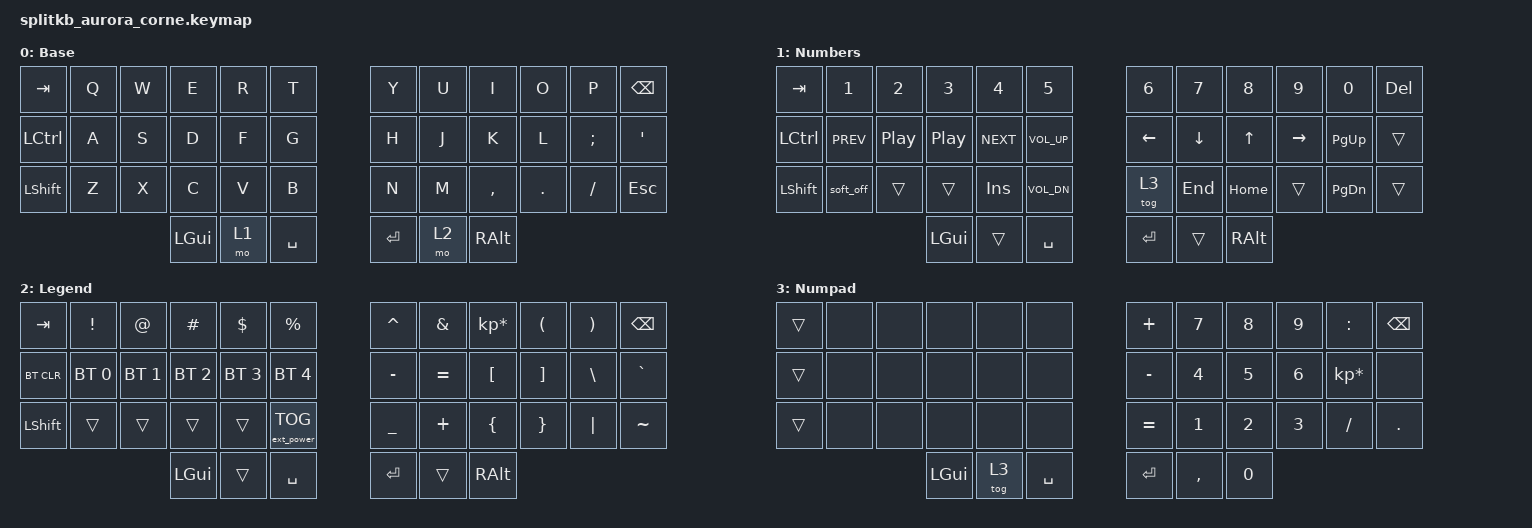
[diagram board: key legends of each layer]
//#include <../boards/shields/splitkb_aurora_corne/boards/nice_nano_v2.overlay>
//#include <dt-bindings/zmk/rgb.h>
/*
 * Copyright (c) 2020 The ZMK Contributors
 *
 * SPDX-License-Identifier: MIT
 */

#include <behaviors.dtsi>
#include <dt-bindings/zmk/keys.h>
#include <dt-bindings/zmk/bt.h>
#include <dt-bindings/zmk/ext_power.h>

&nice_view_spi {
    cs-gpios = <&pro_micro 0 GPIO_ACTIVE_HIGH>;
};

&soft_off {
    hold-time-ms = <1500>; // Only turn off it the key is held for 5 seconds or longer.
};

/{keymap{
    compatible = "zmk,keymap";
        default_layer{display-name = "Base";
        // -----------------------------------------------------------------------------------------
        //     |  TAB |  Q  |  W  |  E  |  R  |  T  |            |  Y  |  U   |  I      |  O   |  P      | BKSP |
        //     | CTRL |  A  |  S  |  D  |  F  |  G  |            |  H  |  J   |  K      |  L   |  ;      |  '   |
        //     | SHFT |  Z  |  X  |  C  |  V  |  B  |            |  N  |  M   |  ,      |  .   |  /      | ESC  |
        //                        | GUI | LWR | SPC |            | ENT | RSE  | ALT |
            bindings = <
               &kp TAB   &kp Q &kp W &kp E &kp R &kp T           &kp Y &kp U  &kp I     &kp O   &kp P    &kp BSPC
               &kp LCTRL &kp A &kp S &kp D &kp F &kp G           &kp H &kp J  &kp K     &kp L   &kp SEMI &kp SQT
               &kp LSHFT &kp Z &kp X &kp C &kp V &kp B           &kp N &kp M  &kp COMMA &kp DOT &kp FSLH &kp ESC
                                      &kp LGUI &mo 1 &kp SPACE   &kp RET &mo 2 &kp RALT
            >;
        };
        lower_layer {display-name = "Numbers";
        // -----------------------------------------------------------------------------------------
        //     |  TAB     |  1      |  2      |  3      |  4      |  5          |       |  6      |  7      |  8      |  9      |  0      | DEL   |
        //     | CTRL     | C_PREV  | C_PP    | C_PP    | C_NEXT  | C_VOL_UP    |       | LFT     | DWN     |  UP     | RGT     |  PG_UP  |       |
        //     | SHFT     | S_OFF   |         |         |  INS    |   C_VOL_DN  |       | TOG3    |         |         |         |  PG_DN  |       |
        //                                    | GUI     |         | SPC         |       | ENT     |         | ALT     |
            bindings = <
               &kp TAB   &kp N1      &kp N2   &kp N3   &kp N4     &kp N5                &kp N6   &kp N7   &kp N8     &kp N9    &kp N0     &kp DEL
               &kp LCTRL &kp C_PREV  &kp C_PP &kp C_PP &kp C_NEXT &kp C_VOL_UP          &kp LEFT &kp DOWN &kp UP     &kp RIGHT &kp PG_UP  &trans
               &kp LSHFT &soft_off   &trans   &trans   &kp INS    &kp C_VOL_DN          &tog 3   &kp END  &kp HOME   &trans    &kp PG_DN  &trans
                                  	          &kp LGUI &trans     &kp SPACE             &kp RET  &trans   &kp RALT
            >;
        };
        
        raise_layer {display-name = "Legend";
        // -----------------------------------------------------------------------------------------
        //     |  TAB     |  !          |  @      |  #          |  $          |  %      |      |  ^      |  &      |  *          |  (      |  )      | BKSP |
        //     | BTCLR    | BT1         | BT2     | BT3         | BT4         | BT5     |      |         |  -      |  =          |  [      |  ]      |  \  |  `   |
        //     | SHFT     |             |         |             |             |         |      |  _      |  +      |  {          |  }      | "|"     |  ~   |
        //                                        | GUI         |             | SPC     |      | ENT     |         | ALT     |
            bindings = <
               &kp TAB    &kp EXCL     &kp AT       &kp HASH     &kp DLLR     &kp PRCNT        &kp CARET &kp AMPS  &kp KP_MULTIPLY &kp LPAR &kp RPAR &kp BSPC
               &bt BT_CLR &bt BT_SEL 0 &bt BT_SEL 1 &bt BT_SEL 2 &bt BT_SEL 3 &bt BT_SEL 4     &kp MINUS &kp EQUAL &kp LBKT        &kp RBKT &kp BSLH &kp GRAVE
               &kp LSHFT  &trans       &trans       &trans       &trans       &ext_power EP_TOG &kp UNDER &kp PLUS  &kp LBRC        &kp RBRC &kp PIPE &kp TILDE
                            	                   &kp LGUI      &trans       &kp SPACE       &kp RET   &trans    &kp RALT
            >;
        };
        numpad_layer {display-name = "Numpad";
        // -----------------------------------------------------------------------------------------
        // |     |     |     |     |     |     |     |    +    |   7    |    8    |    9    |    :    | BKSP |
        // |     |     |     |     |     |     |     |    -    |   4    |    5    |    6    |    *    |      |
        // |     |     |     |     |     |     |     |    =    |   1    |    2    |    3    |    /    |  .   |
        //                   | GUI | TOG4| SPC |     |   ENT   |   ,    |    0    |
                                bindings = <
            &trans &none &none &none &none &none      &kp PLUS  &kp N7   &kp N8    &kp N9   &kp COLON &kp BSPC
            &trans &none &none &none &none &none      &kp MINUS &kp N4   &kp N5    &kp N6   &kp KP_MULTIPLY &none
            &trans &none &none &none &none &none      &kp EQUAL &kp N1   &kp N2    &kp N3   &kp FSLH  &kp DOT
                             &kp LGUI &tog 3 &kp SPACE &kp RET  &kp COMMA &kp N0
                >;
        };
    };
};

